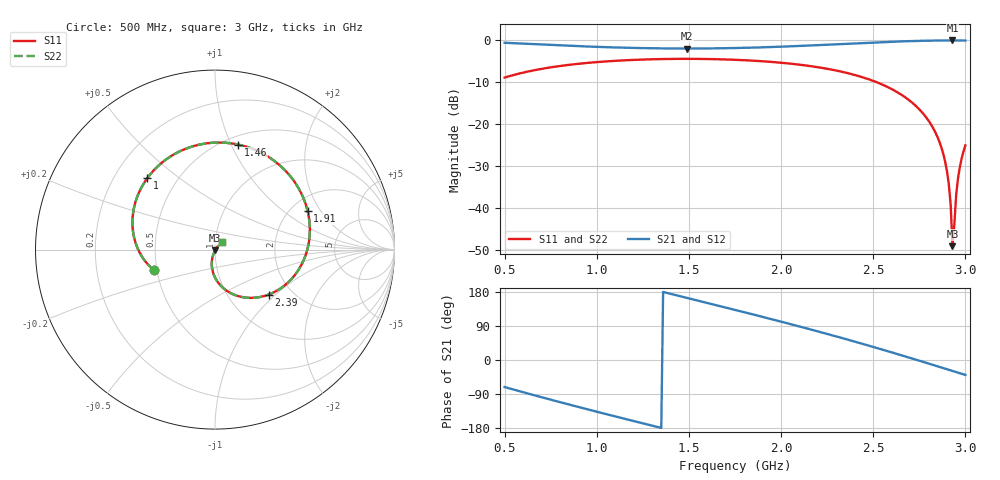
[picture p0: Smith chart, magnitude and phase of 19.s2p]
!freq-unit  param-type  data-format  keyword  impedance-ohms
# GHZ  S  RI  R  50
!Freq  ReS11  ImS11  ReS21  ImS21  ReS12  ImS12  ReS22  ImS22
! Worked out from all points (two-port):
!   251 points, 500 MHz to 3 GHz, reference 50 ohm
!   highest |S21| = -0.07 dB at 2.93 GHz (marker M1); lowest = -2.0 dB at 1.49 GHz (marker M2)
!   |S21| within 3 dB of the highest: start of sweep to end of sweep
!   lowest |S11| = -49.0 dB at 2.93 GHz (marker M3), VSWR 1.01, Z = 50.1 - j0.341 ohm
!   |S11| at or under -10 dB: 2.518 GHz to end of sweep
!   |S22| runs from -49.0 to -4.4 dB; largest |S21 - S12| = 0
!   S11 on the Smith chart (normalised r, x): 500 MHz: 0.48, -0.13; 1 GHz: 0.34, +0.39; 1.46 GHz: 0.58, +1.07; 1.91 GHz: 2.45, +1.53; 2.39 GHz: 1.53, -0.91; 3 GHz: 1.07, +0.09
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0.5  -0.3403 -0.1138  0.2968 -0.8823  0.2968 -0.8823  -0.3403 -0.1138
0.7  -0.4504 0.0655  -0.1264 -0.8783  -0.1264 -0.8783  -0.4504 0.0655
0.92  -0.4251 0.3145  -0.5019 -0.6798  -0.5019 -0.6798  -0.4251 0.3145
1  -0.3774 0.3978  -0.6033 -0.5734  -0.6033 -0.5734  -0.3774 0.3978
1.34  -0.0199 0.5948  -0.7984 -0.027  -0.7984 -0.027  -0.0199 0.5948
1.46  0.1303 0.585  -0.7764 0.1729  -0.7764 0.1729  0.1303 0.585
1.49  0.167 0.5757  -0.7638 0.2216  -0.7638 0.2216  0.167 0.5757
1.75  0.4319 0.3931  -0.5422 0.5964  -0.5422 0.5964  0.4319 0.3931
1.91  0.5161 0.2147  -0.3153 0.7604  -0.3153 0.7604  0.5161 0.2147
2.17  0.4793 -0.0888  0.1598 0.8517  0.1598 0.8517  0.4793 -0.0888
2.39  0.2995 -0.2504  0.589 0.6985  0.589 0.6985  0.2995 -0.2504
2.59  0.101 -0.2491  0.8885 0.3525  0.8885 0.3525  0.101 -0.2491
2.76  -0.00591 -0.1421  0.9805 -0.0568  0.9805 -0.0568  -0.00591 -0.1421
2.86  -0.0168 -0.0586  0.9403 -0.3107  0.9403 -0.3107  -0.0168 -0.0586
2.89  -0.0117 -0.0341  0.914 -0.3842  0.914 -0.3842  -0.0117 -0.0341
2.91  -0.00615 -0.0184  0.8929 -0.4319  0.8929 -0.4319  -0.00615 -0.0184
2.92  -0.00279 -0.0108  0.8813 -0.4552  0.8813 -0.4552  -0.00279 -0.0108
2.93  0.000968 -0.0034  0.8691 -0.4783  0.8691 -0.4783  0.000968 -0.0034
2.94  0.00511 0.0038  0.8562 -0.501  0.8562 -0.501  0.00511 0.0038
2.95  0.00963 0.0108  0.8426 -0.5233  0.8426 -0.5233  0.00963 0.0108
2.96  0.0145 0.0175  0.8284 -0.5452  0.8284 -0.5452  0.0145 0.0175
3  0.0374 0.0417  0.7655 -0.6282  0.7655 -0.6282  0.0374 0.0417
